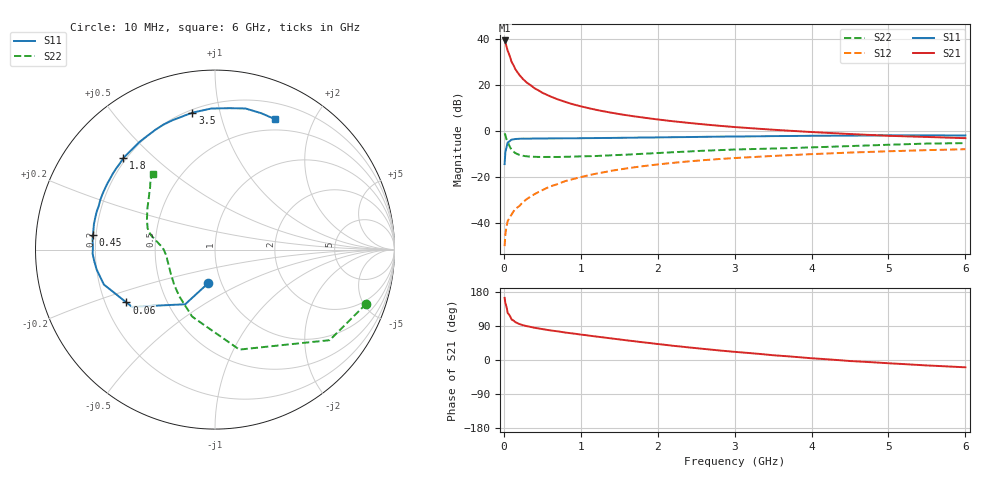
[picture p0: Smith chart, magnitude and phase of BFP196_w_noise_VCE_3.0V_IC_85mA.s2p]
! (c) 2017  Infineon Technologies AG, Munich
! Infineon Technologies  Discrete & RF Semiconductors
! BFP196
! VCE =  3.0 V,  IC =  85 mA
! Common Emitter S-Parameters:  Jan 2017
# GHz  S  MA  R  50
!  f  S11  S21  S12  S22
! GHz  MAG  ANG  MAG  ANG  MAG  ANG  MAG  ANG
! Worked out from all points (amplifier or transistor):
!   77 points, 10 MHz to 6 GHz, reference 50 ohm
!   highest |S21| = 39.4 dB at 10 MHz (marker M1)
!   |S21| within 3 dB of that: start of sweep to 37.64 MHz
!   unconditionally stable (mu >= 1): 384.5 MHz to 2.504 GHz
!   at 130 MHz: K = 0.76, MSG = 31.6 dB, |S12| = -34.8 dB
!   at 2.2 GHz: K = 1.01, MAG = 8.5 dB, |S12| = -13.9 dB
!   at 6 GHz: K = 0.96, MSG = 2.4 dB, |S12| = -7.9 dB
!   lowest NFmin = 1.85 dB at 450 MHz
!   S11 on the Smith chart (normalised r, x): 10 MHz: 0.87, -0.34; 60 MHz: 0.29, -0.25; 450 MHz: 0.19, +0.06; 1.8 GHz: 0.19, +0.40; 3.5 GHz: 0.22, +0.82; 6 GHz: 0.37, +1.49
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0.01  0.1901 -101.3  93.6 163.9  0.0031 76.2  0.895 -19.7
0.02  0.347 -118.6  85.37 150.0  0.0057 72.2  0.8143 -38.3
0.05  0.5618 -145.4  55.85 123.9  0.0109 54.9  0.5735 -76.3
0.06  0.5748 -149.2  50.87 121.8  0.0117 56.1  0.5269 -80.9
0.1  0.6489 -162.5  32.19 107.0  0.0151 59.4  0.3942 -108.9
0.15  0.6687 -170.4  22.11 99.8  0.0201 62.0  0.3292 -126.7
0.2  0.6763 -174.7  16.77 95.1  0.0231 65.2  0.3026 -138.1
0.25  0.6824 -178.2  13.46 91.7  0.0284 66.8  0.2878 -145.6
0.3  0.6802 179.4  11.26 89.2  0.033 68.9  0.2802 -151.6
0.4  0.6845 175.1  8.505 84.9  0.0422 70.5  0.2735 -159.1
0.45  0.6846 173.2  7.654 83.4  0.0468 70.7  0.2722 -161.6
0.6  0.6892 168.2  5.701 78.3  0.0618 69.9  0.2722 -168.0
0.7  0.6902 165.4  4.889 75.6  0.0698 70.3  0.2715 -171.0
0.9  0.6918 159.5  3.808 69.9  0.0897 68.0  0.2769 -175.1
1.1  0.6991 153.8  3.144 64.6  0.1084 65.5  0.2825 -178.5
1.8  0.7213 135.1  1.974 46.9  0.1705 55.8  0.3181 173.4
2.1  0.7279 127.6  1.703 40.0  0.1944 51.3  0.3375 170.6
3.1  0.7602 106.4  1.185 19.9  0.2628 36.9  0.3984 160.9
3.5  0.7734 99.4  1.064 12.6  0.2862 32.0  0.4149 156.0
4.1  0.7864 90.0  0.93 3.3  0.3181 24.4  0.4447 147.6
5.1  0.8031 76.5  0.776 -9.7  0.3656 12.6  0.507 135.4
6  0.7997 65.5  0.697 -19.3  0.4012 2.5  0.5442 129.1
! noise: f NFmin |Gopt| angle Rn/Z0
0.45  1.85  0.51  -169  0.06
0.9  2.01  0.54  -157  0.1
1.9  2.88  0.7  -129  0.43
2.4  3.28  0.7  -116  0.89
